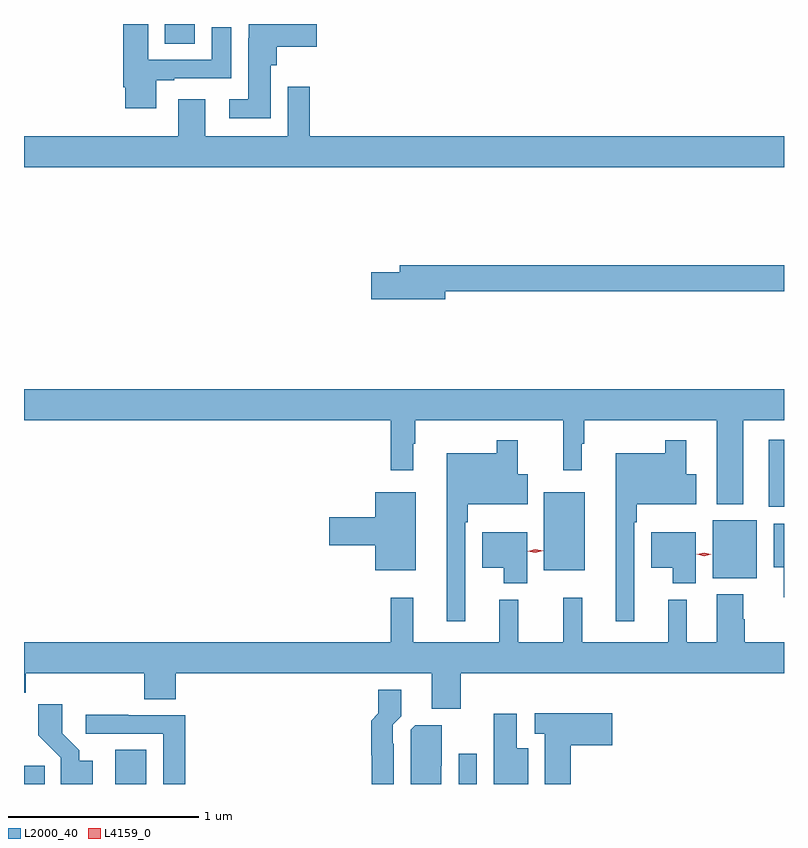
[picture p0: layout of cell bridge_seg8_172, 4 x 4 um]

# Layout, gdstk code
import gdstk
lib = gdstk.Library(unit=1e-6, precision=1e-09)
def R(c, l, rs):  # rectangles x0, y0, x1, y1
    for r in rs: c.add(gdstk.rectangle(r[:2], r[2:], *l))
def P(c, l, *ps):  # polygons
    for p in ps: c.add(gdstk.Polygon(p, *l))
L2000_40 = (2000, 40)
L4159_0 = (4159, 0)

bridge_seg8_172 = lib.new_cell('bridge_seg8_172')
R(bridge_seg8_172, L2000_40, [(538.688,1090.61,538.796,1090.706), (539.168,1090.61,539.332,1090.79), (540.975,1090.61,541.071,1090.768), (542.312,1091.693,542.545,1091.998), (541.424,1091.735,541.639,1092.145), (542.609,1092.068,542.688,1092.421), (539.429,1094.506,539.587,1094.61)])
P(bridge_seg8_172, L2000_40, [(539.986,1094.394),(540.017,1094.394),(540.017,1094.489),(540.229,1094.489),(540.229,1094.61),(539.871,1094.61),(539.871,1094.534),(539.867,1094.534),(539.867,1094.215),(539.769,1094.215),(539.769,1094.114),(539.986,1094.114)],
  [(539.383,1094.313),(539.479,1094.313),(539.479,1094.325),(539.779,1094.325),(539.779,1094.593),(539.675,1094.593),(539.675,1094.421),(539.341,1094.421),(539.341,1094.61),(539.21,1094.61),(539.21,1094.278),(539.222,1094.278),(539.222,1094.166),(539.383,1094.166)],
  [(542.688,1094.02),(540.191,1094.02),(540.191,1094.281),(540.075,1094.281),(540.075,1094.02),(539.641,1094.02),(539.641,1094.215),(539.501,1094.215),(539.501,1094.02),(538.688,1094.02),(538.688,1093.856),(542.688,1093.856)],
  [(540.904,1093.204),(542.688,1093.204),(542.688,1093.34),(540.665,1093.34),(540.665,1093.304),(540.516,1093.304),(540.516,1093.162),(540.904,1093.162)],
  [(542.473,1092.524),(542.688,1092.524),(542.688,1092.688),(538.688,1092.688),(538.688,1092.524),(540.619,1092.524),(540.619,1092.261),(540.736,1092.261),(540.736,1092.401),(540.748,1092.401),(540.748,1092.524),(541.525,1092.524),(541.525,1092.261),(541.624,1092.261),(541.624,1092.401),(541.636,1092.401),(541.636,1092.524),(542.333,1092.524),(542.333,1092.083),(542.473,1092.083)],
  [(541.011,1091.987),(541.024,1091.987),(541.024,1092.083),(541.339,1092.083),(541.339,1092.241),(541.287,1092.241),(541.287,1092.418),(541.176,1092.418),(541.176,1092.352),(540.914,1092.352),(540.914,1091.466),(541.011,1091.466)],
  [(541.899,1091.987),(541.912,1091.987),(541.912,1092.083),(542.227,1092.083),(542.227,1092.241),(542.173,1092.241),(542.173,1092.418),(542.064,1092.418),(542.064,1092.352),(541.802,1092.352),(541.802,1091.466),(541.899,1091.466)],
  [(540.751,1092.145),(540.536,1092.145),(540.536,1092.014),(540.294,1092.014),(540.294,1091.867),(540.536,1091.867),(540.536,1091.735),(540.751,1091.735)],
  [(542.688,1091.98),(542.633,1091.98),(542.633,1091.75),(542.687,1091.75),(542.687,1091.592),(542.688,1091.592)],
  [(542.224,1091.935),(541.988,1091.935),(541.988,1091.747),(542.102,1091.747),(542.102,1091.666),(542.224,1091.666)],
  [(541.336,1091.935),(541.1,1091.935),(541.1,1091.747),(541.214,1091.747),(541.214,1091.666),(541.336,1091.666)],
  [(540.986,1091.192),(542.688,1091.192),(542.688,1091.356),(542.481,1091.356),(542.481,1091.477),(542.473,1091.477),(542.473,1091.608),(542.333,1091.608),(542.333,1091.356),(542.176,1091.356),(542.176,1091.581),(542.078,1091.581),(542.078,1091.356),(541.625,1091.356),(541.625,1091.59),(541.525,1091.59),(541.525,1091.356),(541.29,1091.356),(541.29,1091.581),(541.19,1091.581),(541.19,1091.356),(540.737,1091.356),(540.737,1091.59),(540.619,1091.59),(540.619,1091.356),(538.688,1091.356),(538.688,1091.091),(538.697,1091.091),(538.697,1091.192),(539.321,1091.192),(539.321,1091.056),(539.486,1091.056),(539.486,1091.192),(540.833,1091.192),(540.833,1091.005),(540.986,1091.005)],
  [(540.633,1090.823),(540.63,1090.823),(540.63,1090.923),(540.673,1090.966),(540.673,1091.107),(540.553,1091.107),(540.553,1090.983),(540.515,1090.944),(540.515,1090.762),(540.517,1090.762),(540.517,1090.61),(540.633,1090.61)],
  [(539.05,1090.732),(538.978,1090.732),(538.978,1090.787),(538.888,1090.877),(538.888,1091.029),(538.762,1091.029),(538.762,1090.866),(538.881,1090.747),(538.881,1090.61),(539.05,1090.61)],
  [(541.565,1090.814),(541.783,1090.814),(541.783,1090.983),(541.377,1090.983),(541.377,1090.875),(541.43,1090.875),(541.43,1090.61),(541.565,1090.61)],
  [(541.342,1090.798),(541.282,1090.798),(541.282,1090.981),(541.16,1090.981),(541.16,1090.61),(541.342,1090.61)],
  [(539.537,1090.971),(539.237,1090.971),(539.237,1090.974),(539.013,1090.974),(539.013,1090.875),(539.421,1090.875),(539.421,1090.61),(539.537,1090.61)],
  [(540.885,1090.705),(540.886,1090.705),(540.886,1090.92),(540.747,1090.92),(540.723,1090.896),(540.723,1090.61),(540.885,1090.61)])
P(bridge_seg8_172, L4159_0, [(542.267,1091.808),(542.228,1091.818),(542.228,1091.818),(542.228,1091.818),(542.267,1091.828),(542.306,1091.818),(542.306,1091.818),(542.306,1091.818)],
  [(541.38,1091.826),(541.339,1091.835),(541.339,1091.835),(541.339,1091.835),(541.379,1091.846),(541.42,1091.838),(541.42,1091.838),(541.42,1091.838)])

lib.write_gds('bridge_seg8_172.gds')
